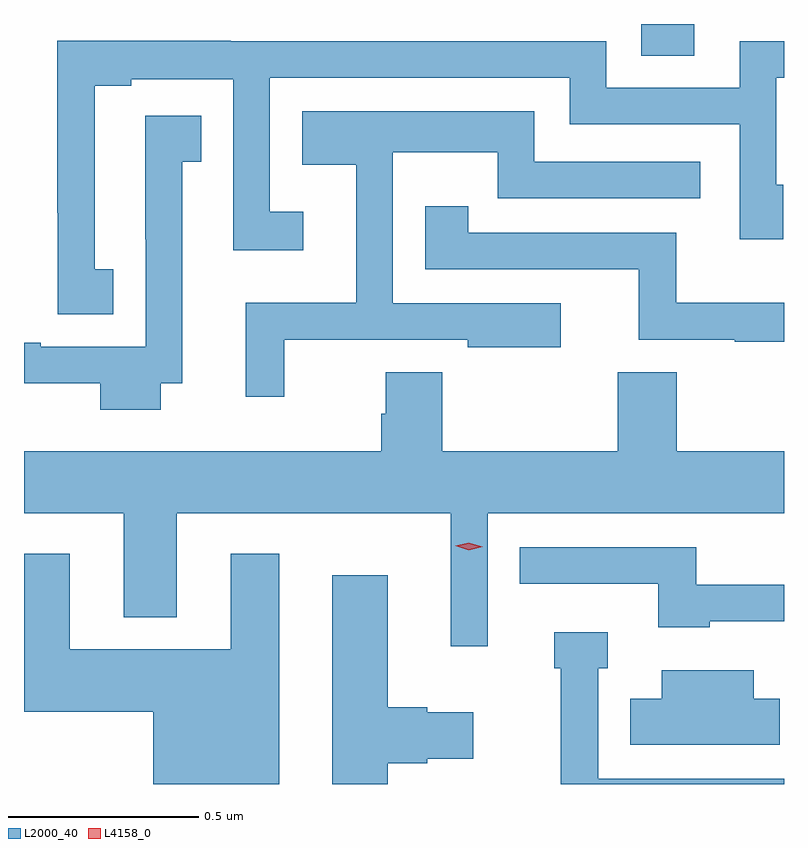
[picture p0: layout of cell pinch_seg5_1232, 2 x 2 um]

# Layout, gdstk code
import gdstk
lib = gdstk.Library(unit=1e-6, precision=1e-09)
def R(c, l, rs):  # rectangles x0, y0, x1, y1
    for r in rs: c.add(gdstk.rectangle(r[:2], r[2:], *l))
def P(c, l, *ps):  # polygons
    for p in ps: c.add(gdstk.Polygon(p, *l))
L2000_40 = (2000, 40)
L4158_0 = (4158, 0)

pinch_seg5_1232 = lib.new_cell('pinch_seg5_1232')
R(pinch_seg5_1232, L2000_40, [(545.795,880.609,545.935,880.692)])
P(pinch_seg5_1232, L2000_40, [(544.406,880.047),(544.357,880.047),(544.357,880.53),(544.453,880.53),(544.453,880.547),(544.722,880.547),(544.722,880.097),(544.906,880.097),(544.906,880.198),(544.818,880.198),(544.818,880.551),(545.607,880.551),(545.607,880.428),(546.054,880.428),(546.054,880.125),(546.169,880.125),(546.169,880.269),(546.15,880.269),(546.15,880.551),(546.171,880.551),(546.171,880.647),(546.054,880.647),(546.054,880.524),(545.703,880.524),(545.703,880.647),(544.715,880.647),(544.715,880.648),(544.259,880.648),(544.259,880.195),(544.26,880.195),(544.26,879.928),(544.406,879.928)],
  [(544.856,879.861),(545.339,879.861),(545.339,879.842),(545.584,879.842),(545.584,879.957),(545.142,879.957),(545.142,880.355),(545.418,880.355),(545.418,880.234),(545.521,880.234),(545.521,880.233),(545.95,880.233),(545.95,880.329),(545.514,880.329),(545.514,880.462),(544.903,880.462),(544.903,880.322),(545.045,880.322),(545.045,879.958),(544.754,879.958),(544.754,879.711),(544.856,879.711)],
  [(544.531,879.747),(544.588,879.747),(544.588,880.329),(544.637,880.329),(544.637,880.45),(544.49,880.45),(544.49,880.126),(544.491,880.126),(544.491,879.843),(544.215,879.843),(544.215,879.853),(544.171,879.853),(544.171,879.746),(544.372,879.746),(544.372,879.677),(544.531,879.677)],
  [(546.171,879.958),(545.887,879.958),(545.887,880.143),(545.34,880.143),(545.34,880.213),(545.227,880.213),(545.227,880.047),(545.789,880.047),(545.789,879.861),(546.042,879.861),(546.042,879.856),(546.171,879.856)],
  [(545.391,879.404),(546.171,879.404),(546.171,879.568),(545.889,879.568),(545.889,879.776),(545.734,879.776),(545.734,879.568),(545.271,879.568),(545.271,879.776),(545.123,879.776),(545.123,879.666),(545.111,879.666),(545.111,879.568),(544.171,879.568),(544.171,879.404),(544.433,879.404),(544.433,879.131),(544.573,879.131),(544.573,879.404),(545.294,879.404),(545.294,879.054),(545.391,879.054)],
  [(545.976,879.12),(546.171,879.12),(546.171,879.216),(545.94,879.216),(545.94,879.315),(545.476,879.315),(545.476,879.219),(545.84,879.219),(545.84,879.104),(545.976,879.104)],
  [(544.843,879.298),(544.715,879.298),(544.715,879.046),(544.291,879.046),(544.291,879.298),(544.171,879.298),(544.171,878.882),(544.511,878.882),(544.511,878.692),(544.843,878.692)],
  [(545.128,878.747),(545.232,878.747),(545.232,878.759),(545.353,878.759),(545.353,878.881),(545.232,878.881),(545.232,878.894),(545.128,878.894),(545.128,879.241),(544.982,879.241),(544.982,878.692),(545.128,878.692)],
  [(546.171,878.706),(545.682,878.706),(545.682,878.997),(545.707,878.997),(545.707,879.091),(545.567,879.091),(545.567,878.997),(545.584,878.997),(545.584,878.692),(546.171,878.692)],
  [(546.16,878.917),(546.091,878.917),(546.091,878.992),(545.849,878.992),(545.849,878.917),(545.767,878.917),(545.767,878.795),(546.16,878.795)])
P(pinch_seg5_1232, L4158_0, [(545.341,879.307),(545.306,879.319),(545.306,879.319),(545.306,879.319),(545.342,879.327),(545.378,879.316),(545.378,879.316),(545.378,879.316)])

lib.write_gds('pinch_seg5_1232.gds')
